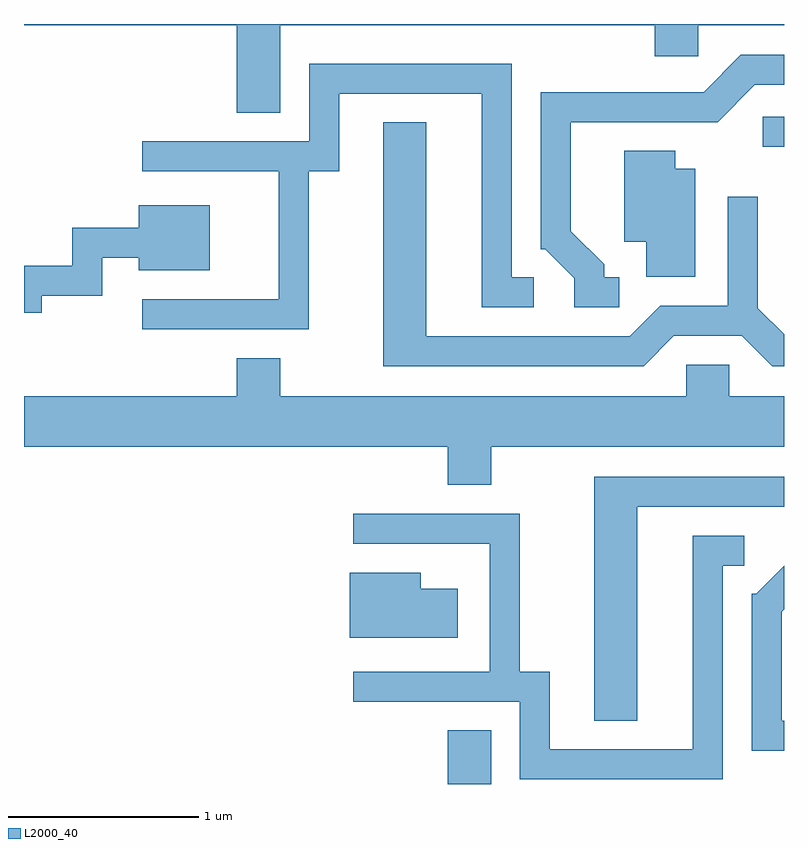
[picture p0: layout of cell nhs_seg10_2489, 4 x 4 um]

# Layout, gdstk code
import gdstk
lib = gdstk.Library(unit=1e-6, precision=1e-09)
def R(c, l, rs):  # rectangles x0, y0, x1, y1
    for r in rs: c.add(gdstk.rectangle(r[:2], r[2:], *l))
def P(c, l, *ps):  # polygons
    for p in ps: c.add(gdstk.Polygon(p, *l))
L2000_40 = (2000, 40)

nhs_seg10_2489 = lib.new_cell('nhs_seg10_2489')
R(nhs_seg10_2489, L2000_40, [(259.841,2176.522,260.069,2176.804), (261.498,2179.876,261.611,2180.034)])
P(nhs_seg10_2489, L2000_40, [(260.931,2180.351),(261.159,2180.351),(261.159,2180.516),(261.611,2180.516),(261.611,2180.522),(257.611,2180.522),(257.611,2180.516),(258.731,2180.516),(258.731,2180.056),(258.959,2180.056),(258.959,2180.516),(260.931,2180.516)],
  [(260.743,2179.189),(260.664,2179.189),(260.664,2179.257),(260.489,2179.432),(260.489,2180.006),(261.262,2180.006),(261.457,2180.201),(261.611,2180.201),(261.611,2180.359),(261.384,2180.359),(261.189,2180.164),(260.331,2180.164),(260.331,2179.336),(260.354,2179.336),(260.506,2179.184),(260.506,2179.031),(260.743,2179.031)],
  [(259.109,2179.746),(259.269,2179.746),(259.269,2180.156),(260.021,2180.156),(260.021,2179.031),(260.293,2179.031),(260.293,2179.189),(260.179,2179.189),(260.179,2180.314),(259.111,2180.314),(259.111,2179.904),(258.233,2179.904),(258.233,2179.746),(258.951,2179.746),(258.951,2179.074),(258.233,2179.074),(258.233,2178.916),(259.109,2178.916)],
  [(261.032,2178.881),(261.389,2178.881),(261.549,2178.721),(261.611,2178.721),(261.611,2178.89),(261.474,2179.027),(261.474,2179.613),(261.316,2179.613),(261.316,2179.039),(260.959,2179.039),(260.799,2178.879),(259.729,2178.879),(259.729,2180.004),(259.501,2180.004),(259.501,2178.721),(260.872,2178.721)],
  [(261.144,2179.759),(261.039,2179.759),(261.039,2179.854),(260.771,2179.854),(260.771,2179.376),(260.886,2179.376),(260.886,2179.191),(261.144,2179.191)],
  [(257.704,2179.091),(258.024,2179.091),(258.024,2179.291),(258.216,2179.291),(258.216,2179.226),(258.589,2179.226),(258.589,2179.569),(258.216,2179.569),(258.216,2179.449),(257.866,2179.449),(257.866,2179.249),(257.611,2179.249),(257.611,2179.001),(257.704,2179.001)],
  [(260.069,2178.296),(261.611,2178.296),(261.611,2178.564),(261.324,2178.564),(261.324,2178.729),(261.096,2178.729),(261.096,2178.564),(258.959,2178.564),(258.959,2178.764),(258.731,2178.764),(258.731,2178.564),(257.611,2178.564),(257.611,2178.296),(259.841,2178.296),(259.841,2178.096),(260.069,2178.096)],
  [(260.839,2177.981),(261.611,2177.981),(261.611,2178.139),(260.611,2178.139),(260.611,2176.856),(260.839,2176.856)],
  [(261.289,2177.671),(261.403,2177.671),(261.403,2177.829),(261.131,2177.829),(261.131,2176.704),(260.379,2176.704),(260.379,2177.114),(260.219,2177.114),(260.219,2177.944),(259.343,2177.944),(259.343,2177.786),(260.061,2177.786),(260.061,2177.114),(259.343,2177.114),(259.343,2176.956),(260.221,2176.956),(260.221,2176.546),(261.289,2176.546)],
  [(261.611,2176.854),(261.599,2176.854),(261.599,2177.429),(261.611,2177.441),(261.611,2177.672),(261.464,2177.524),(261.441,2177.524),(261.441,2176.696),(261.611,2176.696)],
  [(259.894,2177.549),(259.699,2177.549),(259.699,2177.634),(259.326,2177.634),(259.326,2177.291),(259.894,2177.291)])

lib.write_gds('nhs_seg10_2489.gds')
